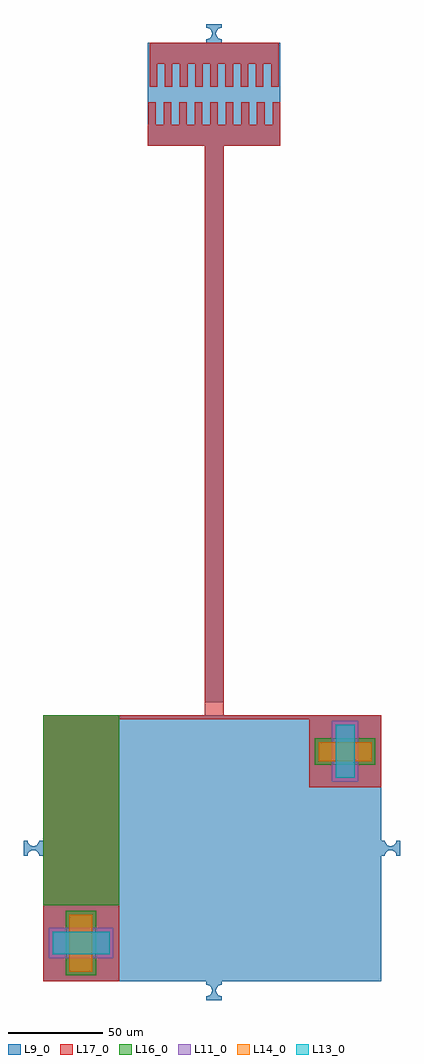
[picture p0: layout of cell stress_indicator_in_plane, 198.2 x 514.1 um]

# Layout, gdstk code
import gdstk
lib = gdstk.Library(unit=1e-6, precision=1e-09)
def R(c, l, rs):  # rectangles x0, y0, x1, y1
    for r in rs: c.add(gdstk.rectangle(r[:2], r[2:], *l))
def A(c, l, x, y, w, h, nx, ny, dx, dy):  # array of equal rectangles
    R(c, l, [(x+i*dx, y+j*dy, x+i*dx+w, y+j*dy+h) for i in range(nx) for j in range(ny)])
def P(c, l, *ps):  # polygons
    for p in ps: c.add(gdstk.Polygon(p, *l))
L9_0 = (9, 0)
L11_0 = (11, 0)
L13_0 = (13, 0)
L14_0 = (14, 0)
L16_0 = (16, 0)
L17_0 = (17, 0)

stress_indicator_in_plan = lib.new_cell('stress_indicator_in_plane')
R(stress_indicator_in_plan, L9_0, [(-90,-483.1,88,-343.1), (-90,-483.1,-50,-443.1), (50,-381.1,88,-343.1), (-5,-336.2,5,-43.1), (-35,-43.1,34.8,11)])
P(stress_indicator_in_plan, L9_0, [(90,-417.1),(90.147,-416.173),(90.573,-415.337),(91.237,-414.673),(92.073,-414.247),(93,-414.1),(93.927,-414.247),(94.763,-414.673),(95.427,-415.337),(95.853,-416.173),(96,-417.1),(98,-417.1),(98,-409.1),(96,-409.1),(95.853,-410.027),(95.427,-410.863),(94.763,-411.527),(93.927,-411.953),(93,-412.1),(92.073,-411.953),(91.237,-411.527),(90.573,-410.863),(90.147,-410.027),(90,-409.1),(88,-409.1),(88,-417.1)],
  [(-98.2,-417.1),(-98.053,-416.173),(-97.627,-415.337),(-96.963,-414.673),(-96.127,-414.247),(-95.2,-414.1),(-94.273,-414.247),(-93.437,-414.673),(-92.773,-415.337),(-92.347,-416.173),(-92.2,-417.1),(-90.2,-417.1),(-90.2,-409.1),(-92.2,-409.1),(-92.347,-410.027),(-92.773,-410.863),(-93.437,-411.527),(-94.273,-411.953),(-95.2,-412.1),(-96.127,-411.953),(-96.963,-411.527),(-97.627,-410.863),(-98.053,-410.027),(-98.2,-409.1),(-100.2,-409.1),(-100.2,-417.1)],
  [(4,13),(3.073,13.147),(2.237,13.573),(1.573,14.237),(1.147,15.073),(1,16),(1.147,16.927),(1.573,17.763),(2.237,18.427),(3.073,18.853),(4,19),(4,21),(-4,21),(-4,19),(-3.073,18.853),(-2.237,18.427),(-1.573,17.763),(-1.147,16.927),(-1,16),(-1.147,15.073),(-1.573,14.237),(-2.237,13.573),(-3.073,13.147),(-4,13),(-4,11),(4,11)],
  [(4,-491.1),(3.073,-490.953),(2.237,-490.527),(1.573,-489.863),(1.147,-489.027),(1,-488.1),(1.147,-487.173),(1.573,-486.337),(2.237,-485.673),(3.073,-485.247),(4,-485.1),(4,-483.1),(-4,-483.1),(-4,-485.1),(-3.073,-485.247),(-2.237,-485.673),(-1.573,-486.337),(-1.147,-487.173),(-1,-488.1),(-1.147,-489.027),(-1.573,-489.863),(-2.237,-490.527),(-3.073,-490.953),(-4,-491.1),(-4,-493.1),(4,-493.1)])
R(stress_indicator_in_plan, L11_0, [(-87,-471.1,-53,-455.1), (62,-378.1,76,-346.1)])
R(stress_indicator_in_plan, L13_0, [(-85,-469.1,-55,-457.1), (64,-376.1,74,-348.1)])
R(stress_indicator_in_plan, L14_0, [(-76.2,-478.1,-64.2,-448.1), (55,-367.3,83,-357.3)])
R(stress_indicator_in_plan, L16_0, [(-78.2,-480.1,-62.2,-446.1), (-90,-443.1,-50,-343.1), (53,-369.3,85,-355.3)])
A(stress_indicator_in_plan, L17_0, -34.8, -32.1, 4, 12, 9, 1, 8.2, 0)
A(stress_indicator_in_plan, L17_0, -34, -12, 4, 12, 9, 1, 8, 0)
R(stress_indicator_in_plan, L17_0, [(-90,-483.1,-50,-443.1), (-90,-443.1,-50,-343.1), (50,-381.1,88,-343.1), (-50,-345.1,50,-343.1), (-5,-343.1,5,-43.1), (-35,-43.1,34.8,-32.1), (-34,0,34,11)])

lib.write_gds('stress_indicator_in_plane.gds')
